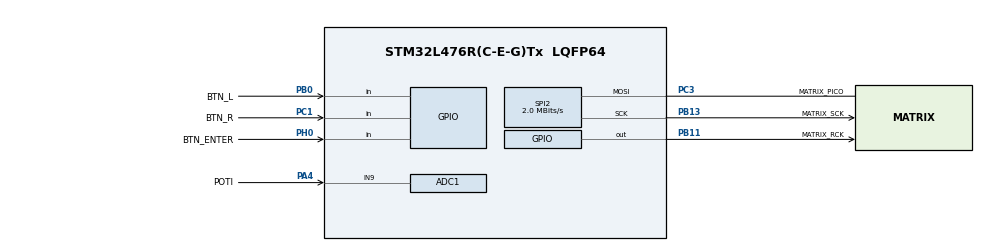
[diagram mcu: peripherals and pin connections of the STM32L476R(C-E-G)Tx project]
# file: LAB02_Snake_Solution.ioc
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ADC1.Channel-0\#ChannelRegularConversion=ADC_CHANNEL_9
ADC1.ClockPrescaler=ADC_CLOCK_ASYNC_DIV8
ADC1.ContinuousConvMode=ENABLE
ADC1.NbrOfConversion=1
ADC1.NbrOfConversionFlag=1
ADC1.OffsetNumber-0\#ChannelRegularConversion=ADC_OFFSET_NONE
ADC1.Overrun=ADC_OVR_DATA_OVERWRITTEN
ADC1.Rank-0\#ChannelRegularConversion=1
ADC1.SamplingTime-0\#ChannelRegularConversion=ADC_SAMPLETIME_92CYCLES_5
ADC1.master=1
Mcu.Family=STM32L4
Mcu.Name=STM32L476R(C-E-G)Tx
Mcu.Package=LQFP64
NVIC.PriorityGroup=NVIC_PRIORITYGROUP_4
PA4.GPIO_Label=POTI
PA4.Signal=ADCx_IN9
PB0.GPIO_Label=BTN_L
PB0.Signal=GPIO_Input
PB11.GPIO_Label=MATRIX_RCK
PB11.Signal=GPIO_Output
PB13.GPIO_Label=MATRIX_SCK
PB13.Mode=Simplex_Bidirectional_Master
PB13.Signal=SPI2_SCK
PC1.GPIO_Label=BTN_R
PC1.Signal=GPIO_Input
PC3.GPIO_Label=MATRIX_PICO
PC3.Mode=Simplex_Bidirectional_Master
PC3.Signal=SPI2_MOSI
PH0-OSC_IN\ (PH0).GPIO_Label=BTN_ENTER
PH0-OSC_IN\ (PH0).Signal=GPIO_Input
ProjectManager.HeapSize=0x200
ProjectManager.StackSize=0x400
ProjectManager.TargetToolchain=STM32CubeIDE
RCC.ADCFreq_Value=32000000
RCC.HSE_VALUE=8000000
RCC.HSI_VALUE=16000000
RCC.LSE_VALUE=32768
RCC.MSI_VALUE=4000000
RCC.PLLSAI1N=16
RCC.USBFreq_Value=32000000
RCC.VCOOutputFreq_Value=32000000
SH.ADCx_IN9.0=ADC1_IN9,IN9-Single-Ended
SPI2.CalculateBaudRate=2.0 MBits/s
SPI2.DataSize=SPI_DATASIZE_8BIT
SPI2.Direction=SPI_DIRECTION_1LINE
SPI2.Mode=SPI_MODE_MASTER
SPI2.VirtualType=VM_MASTER
board=custom

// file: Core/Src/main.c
/* USER CODE BEGIN Header */
/**
 * @file main.c
 * @brief Snake Game board config + main function.
 * @author Philipp Schilk, 2023
 *
 * For very important research project!
 */

/* USER CODE END Header */
#include "main.h"

/* USER CODE BEGIN Includes */
#include "snake.h"
/* USER CODE END Includes */

ADC_HandleTypeDef hadc1;

SPI_HandleTypeDef hspi2;

void SystemClock_Config(void);
static void MX_GPIO_Init(void);
static void MX_SPI2_Init(void);
static void MX_ADC1_Init(void);

int main(void) {

  /* MCU Configuration--------------------------------------------------------*/

  /* Reset of all peripherals, Initializes the Flash interface and the Systick. */
  HAL_Init();

  /* Configure the system clock */
  SystemClock_Config();

  /* Initialize all configured peripherals */
  MX_GPIO_Init();
  MX_SPI2_Init();
  MX_ADC1_Init();
  /* USER CODE BEGIN 2 */

  // Start ADC conversions:
  if (HAL_ADC_Start(&hadc1) != HAL_OK) {
    while (1) {
    }
  }

  // Run Snake:
  snake_run(); // never returns.

  /* USER CODE END 2 */

  /* Infinite loop */

}

void SystemClock_Config(void) {
  RCC_OscInitTypeDef RCC_OscInitStruct = {0};
  RCC_ClkInitTypeDef RCC_ClkInitStruct = {0};

  /** Configure the main internal regulator output voltage
   */
  if (HAL_PWREx_ControlVoltageScaling(PWR_REGULATOR_VOLTAGE_SCALE1) != HAL_OK) {
    Error_Handler();
  }

  /** Initializes the RCC Oscillators according to the specified parameters
   * in the RCC_OscInitTypeDef structure.
   */
  RCC_OscInitStruct.OscillatorType = RCC_OSCILLATORTYPE_MSI;
  RCC_OscInitStruct.MSIState = RCC_MSI_ON;
  RCC_OscInitStruct.MSICalibrationValue = 0;
  RCC_OscInitStruct.MSIClockRange = RCC_MSIRANGE_6;
  RCC_OscInitStruct.PLL.PLLState = RCC_PLL_NONE;
  if (HAL_RCC_OscConfig(&RCC_OscInitStruct) != HAL_OK) {
    Error_Handler();
  }

  /** Initializes the CPU, AHB and APB buses clocks
   */
  RCC_ClkInitStruct.ClockType = RCC_CLOCKTYPE_HCLK | RCC_CLOCKTYPE_SYSCLK | RCC_CLOCKTYPE_PCLK1 | RCC_CLOCKTYPE_PCLK2;
  RCC_ClkInitStruct.SYSCLKSource = RCC_SYSCLKSOURCE_MSI;
  RCC_ClkInitStruct.AHBCLKDivider = RCC_SYSCLK_DIV1;
  RCC_ClkInitStruct.APB1CLKDivider = RCC_HCLK_DIV1;
  RCC_ClkInitStruct.APB2CLKDivider = RCC_HCLK_DIV1;

  if (HAL_RCC_ClockConfig(&RCC_ClkInitStruct, FLASH_LATENCY_0) != HAL_OK) {
    Error_Handler();
  }
}

static void MX_ADC1_Init(void) {

  ADC_MultiModeTypeDef multimode = {0};
  ADC_ChannelConfTypeDef sConfig = {0};

  /** Common config
   */
  hadc1.Instance = ADC1;
  hadc1.Init.ClockPrescaler = ADC_CLOCK_ASYNC_DIV8;
  hadc1.Init.Resolution = ADC_RESOLUTION_12B;
  hadc1.Init.DataAlign = ADC_DATAALIGN_RIGHT;
  hadc1.Init.ScanConvMode = ADC_SCAN_DISABLE;
  hadc1.Init.EOCSelection = ADC_EOC_SINGLE_CONV;
  hadc1.Init.LowPowerAutoWait = DISABLE;
  hadc1.Init.ContinuousConvMode = ENABLE;
  hadc1.Init.NbrOfConversion = 1;
  hadc1.Init.DiscontinuousConvMode = DISABLE;
  hadc1.Init.ExternalTrigConv = ADC_SOFTWARE_START;
  hadc1.Init.ExternalTrigConvEdge = ADC_EXTERNALTRIGCONVEDGE_NONE;
  hadc1.Init.DMAContinuousRequests = DISABLE;
  hadc1.Init.Overrun = ADC_OVR_DATA_OVERWRITTEN;
  hadc1.Init.OversamplingMode = DISABLE;
  if (HAL_ADC_Init(&hadc1) != HAL_OK) {
    Error_Handler();
  }

  /** Configure the ADC multi-mode
   */
  multimode.Mode = ADC_MODE_INDEPENDENT;
  if (HAL_ADCEx_MultiModeConfigChannel(&hadc1, &multimode) != HAL_OK) {
    Error_Handler();
  }

  /** Configure Regular Channel
   */
  sConfig.Channel = ADC_CHANNEL_9;
  sConfig.Rank = ADC_REGULAR_RANK_1;
  sConfig.SamplingTime = ADC_SAMPLETIME_92CYCLES_5;
  sConfig.SingleDiff = ADC_SINGLE_ENDED;
  sConfig.OffsetNumber = ADC_OFFSET_NONE;
  sConfig.Offset = 0;
  if (HAL_ADC_ConfigChannel(&hadc1, &sConfig) != HAL_OK) {
    Error_Handler();
  }
}

static void MX_SPI2_Init(void) {

  /* SPI2 parameter configuration*/
  hspi2.Instance = SPI2;
  hspi2.Init.Mode = SPI_MODE_MASTER;
  hspi2.Init.Direction = SPI_DIRECTION_1LINE;
  hspi2.Init.DataSize = SPI_DATASIZE_8BIT;
  hspi2.Init.CLKPolarity = SPI_POLARITY_LOW;
  hspi2.Init.CLKPhase = SPI_PHASE_1EDGE;
  hspi2.Init.NSS = SPI_NSS_SOFT;
  hspi2.Init.BaudRatePrescaler = SPI_BAUDRATEPRESCALER_2;
  hspi2.Init.FirstBit = SPI_FIRSTBIT_MSB;
  hspi2.Init.TIMode = SPI_TIMODE_DISABLE;
  hspi2.Init.CRCCalculation = SPI_CRCCALCULATION_DISABLE;
  hspi2.Init.CRCPolynomial = 7;
  hspi2.Init.CRCLength = SPI_CRC_LENGTH_DATASIZE;
  hspi2.Init.NSSPMode = SPI_NSS_PULSE_ENABLE;
  if (HAL_SPI_Init(&hspi2) != HAL_OK) {
    Error_Handler();
  }
}

static void MX_GPIO_Init(void) {
  GPIO_InitTypeDef GPIO_InitStruct = {0};
  /* USER CODE BEGIN MX_GPIO_Init_1 */
  //$ START SOL
  /* USER CODE END MX_GPIO_Init_1 */

  /* GPIO Ports Clock Enable */
  __HAL_RCC_GPIOH_CLK_ENABLE();
  __HAL_RCC_GPIOC_CLK_ENABLE();
  __HAL_RCC_GPIOA_CLK_ENABLE();
  __HAL_RCC_GPIOB_CLK_ENABLE();

  /*Configure GPIO pin Output Level */
  HAL_GPIO_WritePin(MATRIX_RCK_GPIO_Port, MATRIX_RCK_Pin, GPIO_PIN_RESET);

  /*Configure GPIO pin : BTN_ENTER_Pin */
  GPIO_InitStruct.Pin = BTN_ENTER_Pin;
  GPIO_InitStruct.Mode = GPIO_MODE_INPUT;
  GPIO_InitStruct.Pull = GPIO_NOPULL;
  HAL_GPIO_Init(BTN_ENTER_GPIO_Port, &GPIO_InitStruct);

  /*Configure GPIO pin : BTN_R_Pin */
  GPIO_InitStruct.Pin = BTN_R_Pin;
  GPIO_InitStruct.Mode = GPIO_MODE_INPUT;
  GPIO_InitStruct.Pull = GPIO_NOPULL;
  HAL_GPIO_Init(BTN_R_GPIO_Port, &GPIO_InitStruct);

  /*Configure GPIO pin : BTN_L_Pin */
  GPIO_InitStruct.Pin = BTN_L_Pin;
  GPIO_InitStruct.Mode = GPIO_MODE_INPUT;
  GPIO_InitStruct.Pull = GPIO_NOPULL;
  HAL_GPIO_Init(BTN_L_GPIO_Port, &GPIO_InitStruct);

  /*Configure GPIO pin : MATRIX_RCK_Pin */
  GPIO_InitStruct.Pin = MATRIX_RCK_Pin;
  GPIO_InitStruct.Mode = GPIO_MODE_OUTPUT_PP;
  GPIO_InitStruct.Pull = GPIO_NOPULL;
  GPIO_InitStruct.Speed = GPIO_SPEED_FREQ_LOW;
  HAL_GPIO_Init(MATRIX_RCK_GPIO_Port, &GPIO_InitStruct);

  /* USER CODE BEGIN MX_GPIO_Init_2 */
  //$ END
  /* USER CODE END MX_GPIO_Init_2 */
}

/* USER CODE BEGIN 4 */

bool snake_read_left_button() {
  //$ START SOL
  return !HAL_GPIO_ReadPin(BTN_L_GPIO_Port, BTN_L_Pin);
  //$ START EX
  // // TODO: Complete this function. Return 'true' if the left button is pressed.
  // return false;
  //$ END
}
bool snake_read_right_button() {
  //$ START SOL
  return !HAL_GPIO_ReadPin(BTN_R_GPIO_Port, BTN_R_Pin);
  //$ START EX
  // // TODO: Complete this function. Return 'true' if the right button is pressed.
  // return false;
  //$ END
}
bool snake_read_enter_button() {
  //$ START SOL
  return !HAL_GPIO_ReadPin(BTN_ENTER_GPIO_Port, BTN_ENTER_Pin);
  //$ START EX
  // // TODO: Complete this function. Return 'true' if the enter button is pressed.
  // return false;
  //$ END
}

void snake_write_display(uint32_t red, uint32_t green) {
  // This function uses the SPI peripheral (a serial bus) to
  // write to the LED matrix on the shield. We will cover
  // serial interfaces in a later exercise.

  // Ensure RCK (Latch pin is lock):
  HAL_GPIO_WritePin(MATRIX_RCK_GPIO_Port, MATRIX_RCK_Pin, GPIO_PIN_RESET);

  // Construct 3 byte buffer:
  uint8_t buf[] = {
      red >> 4,
      (red & 0xF) << 4 | (green >> 8),
      green & 0xff,
  };

  // Transmit:
  HAL_SPI_Transmit(&hspi2, buf, 3, 300);

  // Latch:
  HAL_GPIO_WritePin(MATRIX_RCK_GPIO_Port, MATRIX_RCK_Pin, GPIO_PIN_SET);
  HAL_Delay(1);
  HAL_GPIO_WritePin(MATRIX_RCK_GPIO_Port, MATRIX_RCK_Pin, GPIO_PIN_RESET);
}

uint32_t snake_read_adc() {
  // This function uses the ADC (Analog-to-Digital Converter)
  // to read the output voltage of the potentiometer.
  // We will cover the ADC in a later exercise.

  // Wait for conversion to complete:
  HAL_ADC_PollForConversion(&hadc1, 100);

  // Return value:
  return HAL_ADC_GetValue(&hadc1);
}

/* USER CODE END 4 */

void Error_Handler(void) {
  __disable_irq();
  while (1) {
  }
}
